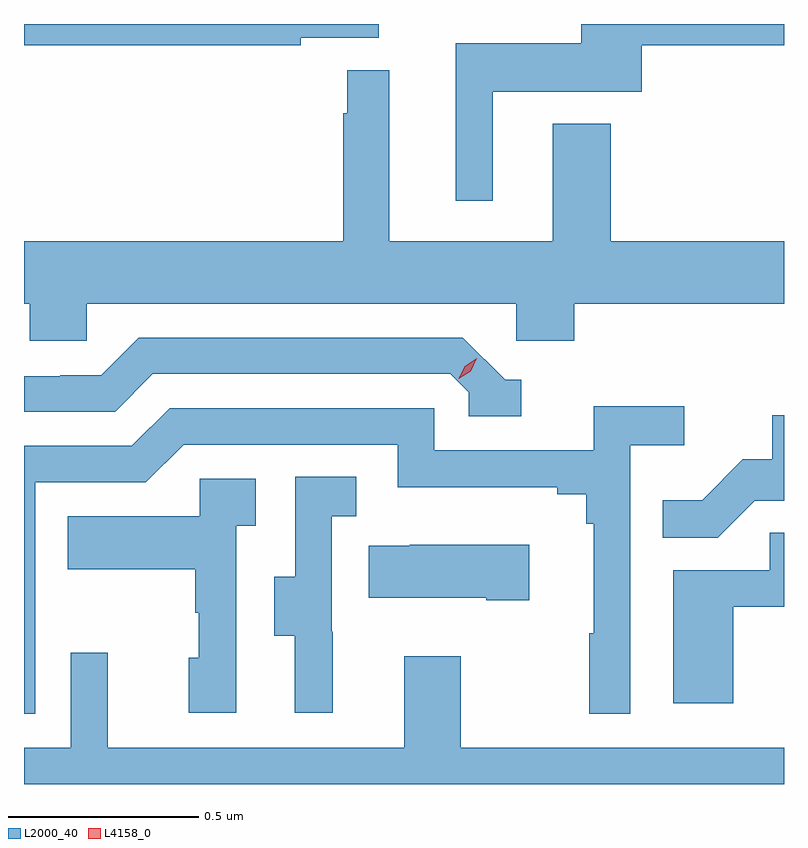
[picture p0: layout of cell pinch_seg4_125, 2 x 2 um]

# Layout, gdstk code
import gdstk
lib = gdstk.Library(unit=1e-6, precision=1e-09)
def P(c, l, *ps):  # polygons
    for p in ps: c.add(gdstk.Polygon(p, *l))
L2000_40 = (2000, 40)
L4158_0 = (4158, 0)

pinch_seg4_125 = lib.new_cell('pinch_seg4_125')
P(pinch_seg4_125, L2000_40, [(1038.676,792.05),(1039.067,792.05),(1039.067,792.172),(1039.442,792.172),(1039.442,792.228),(1038.908,792.228),(1038.908,792.178),(1038.578,792.178),(1038.578,791.763),(1038.676,791.763)],
  [(1038.17,792.192),(1038.376,792.192),(1038.376,792.228),(1037.442,792.228),(1037.442,792.172),(1038.17,792.172)],
  [(1037.607,791.492),(1038.738,791.492),(1038.738,791.394),(1038.89,791.394),(1038.89,791.492),(1039.442,791.492),(1039.442,791.656),(1038.986,791.656),(1038.986,791.965),(1038.833,791.965),(1038.833,791.656),(1038.403,791.656),(1038.403,792.106),(1038.292,792.106),(1038.292,791.993),(1038.282,791.993),(1038.282,791.656),(1037.442,791.656),(1037.442,791.492),(1037.457,791.492),(1037.457,791.394),(1037.607,791.394)],
  [(1038.751,791.292),(1038.708,791.292),(1038.597,791.403),(1037.744,791.403),(1037.645,791.304),(1037.538,791.304),(1037.538,791.301),(1037.442,791.301),(1037.442,791.208),(1037.682,791.208),(1037.781,791.307),(1038.564,791.307),(1038.612,791.259),(1038.612,791.196),(1038.751,791.196)],
  [(1037.472,791.022),(1037.763,791.022),(1037.862,791.121),(1038.426,791.121),(1038.426,791.009),(1038.845,791.009),(1038.845,790.99),(1038.922,790.99),(1038.922,790.913),(1038.941,790.913),(1038.941,790.625),(1038.93,790.625),(1038.93,790.413),(1039.038,790.413),(1039.038,791.12),(1039.18,791.12),(1039.18,791.222),(1038.941,791.222),(1038.941,791.106),(1038.522,791.106),(1038.522,791.217),(1037.825,791.217),(1037.726,791.118),(1037.442,791.118),(1037.442,790.413),(1037.472,790.413)],
  [(1039.365,790.974),(1039.442,790.974),(1039.442,791.199),(1039.411,791.199),(1039.411,791.082),(1039.334,791.082),(1039.227,790.975),(1039.123,790.975),(1039.123,790.876),(1039.267,790.876)],
  [(1038.254,790.629),(1038.252,790.629),(1038.252,790.933),(1038.316,790.933),(1038.316,791.036),(1038.156,791.036),(1038.156,790.773),(1038.101,790.773),(1038.101,790.618),(1038.155,790.618),(1038.155,790.416),(1038.254,790.416)],
  [(1038,790.907),(1038.052,790.907),(1038.052,791.031),(1037.904,791.031),(1037.904,790.933),(1037.557,790.933),(1037.557,790.793),(1037.892,790.793),(1037.892,790.679),(1037.902,790.679),(1037.902,790.56),(1037.876,790.56),(1037.876,790.416),(1038,790.416)],
  [(1039.309,790.695),(1039.442,790.695),(1039.442,790.889),(1039.405,790.889),(1039.405,790.791),(1039.151,790.791),(1039.151,790.44),(1039.309,790.44)],
  [(1038.772,790.858),(1038.457,790.858),(1038.457,790.855),(1038.349,790.855),(1038.349,790.718),(1038.659,790.718),(1038.659,790.711),(1038.772,790.711)],
  [(1039.442,790.324),(1038.591,790.324),(1038.591,790.564),(1038.443,790.564),(1038.443,790.324),(1037.663,790.324),(1037.663,790.573),(1037.565,790.573),(1037.565,790.324),(1037.442,790.324),(1037.442,790.228),(1039.442,790.228)])
P(pinch_seg4_125, L4158_0, [(1038.586,791.294),(1038.586,791.294),(1038.602,791.328),(1038.633,791.348),(1038.633,791.348),(1038.633,791.348),(1038.617,791.314),(1038.586,791.294)])

lib.write_gds('pinch_seg4_125.gds')
